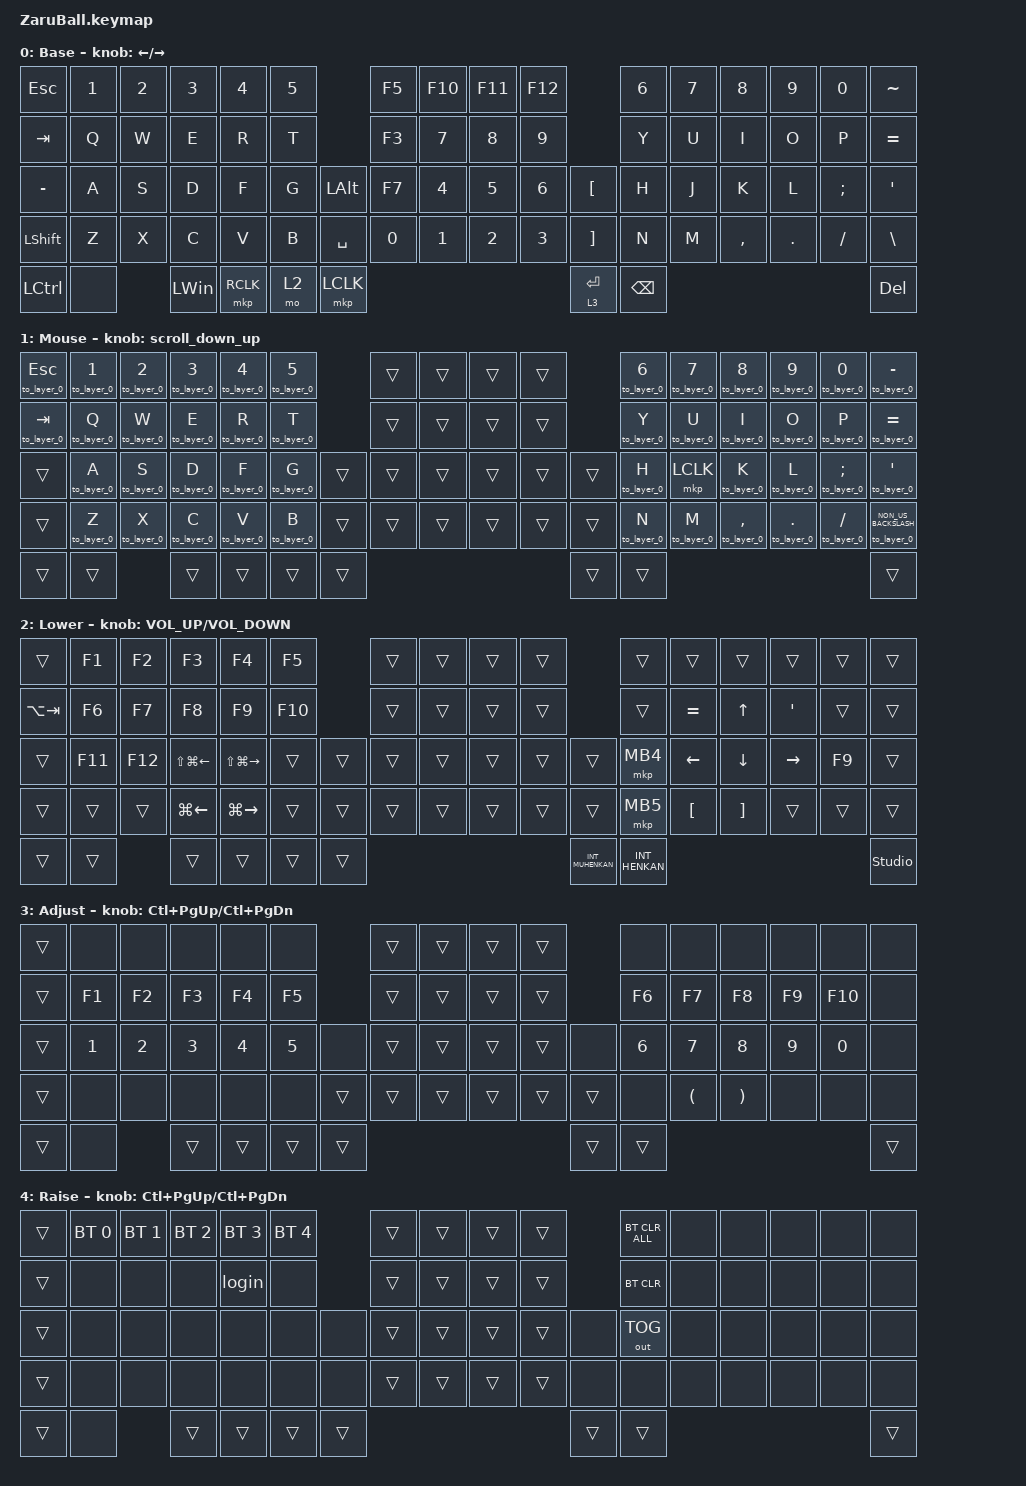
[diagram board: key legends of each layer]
//#include <dt-bindings/zmk/mouse.h>

#include <behaviors/rgbled_widget.dtsi>
#include <input/processors.dtsi>
#include <dt-bindings/zmk/input_transform.h>
#include <behaviors.dtsi>
#include <dt-bindings/zmk/bt.h>
#include <dt-bindings/zmk/keys.h>
#include <dt-bindings/zmk/outputs.h>
#include <dt-bindings/zmk/pointing.h>

#define BASE     0
#define MOUSE    1
#define LOWER    2
#define RAISE    3
#define ADJUST   4
#define SCROLL   2

// スクロール量の設定

#define ZMK_POINTING_DEFAULT_SCRL_VAL 100

&trackball_listener {
    input-processors = <
                         &zip_xy_transform (INPUT_TRANSFORM_XY_SWAP | INPUT_TRANSFORM_Y_INVERT | INPUT_TRANSFORM_X_INVERT)
                         &zip_temp_layer MOUSE 500
    >;

    scroller {
        layers = <SCROLL>;
        input-processors = <
                            &zip_xy_transform (INPUT_TRANSFORM_XY_SWAP | INPUT_TRANSFORM_X_INVERT)
                            &zip_xy_scaler 1 20
                            &zip_xy_to_scroll_mapper
        >;
    };
};

/ {
    conditional_layers {
        compatible = "zmk,conditional-layers";

        tri_layer {
            if-layers = <2 3>;
            then-layer = <4>;
        };
    };
};

/ {
    behaviors {
        // スクロール用のbehaviorの設定

        scroll_down_up: behavior_sensor_rotate_mouse_wheel_down_up {
            compatible = "zmk,behavior-sensor-rotate";
            #sensor-binding-cells = <0>;
            bindings = <&msc SCRL_DOWN>, <&msc SCRL_UP>;

            tap-ms = <20>; // スクロールのタップ時間
        };

        td0: tap_dance_0 {
            compatible = "zmk,behavior-tap-dance";
            #binding-cells = <0>;
            tapping-term-ms = <200>;
            bindings = <&mt LALT LANG2>, <&mo RAISE>, <&mo MOUSE>;
        };

        td1: tap_dance_1 {
            compatible = "zmk,behavior-tap-dance";
            #binding-cells = <0>;
            tapping-term-ms = <200>;
            bindings = <&mt RCTL LANG1>, <&mo RAISE>, <&mo MOUSE>;
        };

        // Customed Hold-Tap for SandS

        SandS: SandS {
            compatible = "zmk,behavior-hold-tap";
            #binding-cells = <2>;
            flavor = "tap-unless-interrupted";
            tapping-term-ms = <500>;
            quick-tap-ms = <500>;
            bindings = <&kp>, <&kp>;

            display-name = "SandS";
        };
    };
};

&sl { release-after-ms = <250>; }; // time needed for double click (for mkp_exit_AML)
/ {
    macros {
        // When in AML, move to default layer when key (except mouse button) pressed

        to_layer_0: to_layer_0 {
            compatible = "zmk,behavior-macro-one-param";
            #binding-cells = <1>;
            bindings = <&tog MOUSE &macro_param_1to1 &kp MACRO_PLACEHOLDER>;
            label = "TO_layer_0";
        };

        // When LCLK pressed, exit AML (after 250ms cause by sticky layer

        mkp_exit_AML: mkp_exit_AML {
            compatible = "zmk,behavior-macro-one-param";
            #binding-cells = <1>;
            bindings =
                <&macro_press>,
                <&macro_param_1to1 &mkp MACRO_PLACEHOLDER>,
                <&macro_pause_for_release>,
                <&macro_release>,
                <&macro_param_1to1 &mkp MACRO_PLACEHOLDER>,
                <&macro_tap>,
                <&sl MOUSE>;

            label = "MKP_EXIT_AML";
        };

        login: login {
            compatible = "zmk,behavior-macro";
            #binding-cells = <0>;
            bindings = <&kp INT_MUHENKAN &kp LS(R) &kp U &kp R &kp U &kp R &kp U &kp LS(R) &kp U &kp K &kp I &kp A &kp N6 &kp N2 &kp N5>;
            label = "LOGIN";
        };
    };
};

/ {
    keymap {
        compatible = "zmk,keymap";

        base_layer {
            display-name = "Base";
            sensor-bindings = <&inc_dec_kp LEFT_ARROW RIGHT_ARROW>;
            bindings = <
&kp ESC    &kp N1  &kp N2  &kp N3    &kp N4     &kp N5                  &kp F5  &kp F10       &kp F11       &kp F12                    &kp NUMBER_6  &kp N7  &kp N8     &kp N9   &kp N0    &kp TILDE
&kp TAB    &kp Q   &kp W   &kp E     &kp R      &kp T                   &kp F3  &kp N7        &kp N8        &kp N9                     &kp Y         &kp U   &kp I      &kp O    &kp P     &kp EQUAL
&kp MINUS  &kp A   &kp S   &kp D     &kp F      &kp G   &kp LEFT_ALT    &kp F7  &kp NUMBER_4  &kp N5        &kp NUMBER_6    &kp LBKT   &kp H         &kp J   &kp K      &kp L    &kp SEMI  &kp SQT
&kp LSHFT  &kp Z   &kp X   &kp C     &kp V      &kp B   &kp SPACE       &kp N0  &kp NUMBER_1  &kp NUMBER_2  &kp NUMBER_3    &kp RBKT   &kp N         &kp M   &kp COMMA  &kp DOT  &kp FSLH  &kp BACKSLASH
&kp LCTRL  &none           &kp LWIN  &mkp RCLK  &mo 2   &mkp LCLK                                                           &lt 3 RET  &kp BSPC                                            &kp DEL
            >;
        };

        mouse_layer {
            display-name = "Mouse";
            sensor-bindings = <&scroll_down_up>;
            bindings = <
&to_layer_0 ESC  &to_layer_0 N1  &to_layer_0 N2  &to_layer_0 N3  &to_layer_0 N4  &to_layer_0 N5            &trans  &trans  &trans  &trans            &to_layer_0 N6  &to_layer_0 N7  &to_layer_0 N8     &to_layer_0 N9      &to_layer_0 N0         &to_layer_0 MINUS
&to_layer_0 TAB  &to_layer_0 Q   &to_layer_0 W   &to_layer_0 E   &to_layer_0 R   &to_layer_0 T             &trans  &trans  &trans  &trans            &to_layer_0 Y   &to_layer_0 U   &to_layer_0 I      &to_layer_0 O       &to_layer_0 P          &to_layer_0 EQUAL
&trans           &to_layer_0 A   &to_layer_0 S   &to_layer_0 D   &to_layer_0 F   &to_layer_0 G   &trans    &trans  &trans  &trans  &trans    &trans  &to_layer_0 H   &mkp LCLK       &to_layer_0 K      &to_layer_0 L       &to_layer_0 SEMICOLON  &to_layer_0 SQT
&trans           &to_layer_0 Z   &to_layer_0 X   &to_layer_0 C   &to_layer_0 V   &to_layer_0 B   &trans    &trans  &trans  &trans  &trans    &trans  &to_layer_0 N   &to_layer_0 M   &to_layer_0 COMMA  &to_layer_0 PERIOD  &to_layer_0 SLASH      &to_layer_0 NON_US_BACKSLASH
&trans           &trans                          &trans          &trans          &trans          &trans                                      &trans  &trans                                                                                        &trans
            >;
        };

        lower_layer {
            display-name = "Lower";
            sensor-bindings = <&inc_dec_kp C_VOLUME_UP C_VOLUME_DOWN>;
            bindings = <
&trans       &kp F1   &kp F2   &kp F3                  &kp F4             &kp F5             &trans  &trans  &trans  &trans                      &trans          &trans     &trans    &trans     &trans  &trans
&kp LA(TAB)  &kp F6   &kp F7   &kp F8                  &kp F9             &kp F10            &trans  &trans  &trans  &trans                      &trans          &kp EQUAL  &kp UP    &kp SQT    &trans  &trans
&trans       &kp F11  &kp F12  &kp LS(LG(LEFT_ARROW))  &kp LS(LG(RIGHT))  &trans   &trans    &trans  &trans  &trans  &trans    &trans            &mkp MB4        &kp LEFT   &kp DOWN  &kp RIGHT  &kp F9  &trans
&trans       &trans   &trans   &kp LG(LEFT)            &kp LG(RIGHT)      &trans   &trans    &trans  &trans  &trans  &trans    &trans            &mkp MB5        &kp LBKT   &kp RBKT  &trans     &trans  &trans
&trans       &trans            &trans                  &trans             &trans   &trans                                      &kp INT_MUHENKAN  &kp INT_HENKAN                                          &studio_unlock
            >;
        };

        adjust_layer {
            display-name = "Adjust";
            sensor-bindings = <&inc_dec_kp LC(PAGE_UP) LC(PAGE_DOWN)>;
            bindings = <
&trans  &none   &none   &none   &none   &none             &trans  &trans  &trans  &trans            &none   &none     &none     &none   &none    &none
&trans  &kp F1  &kp F2  &kp F3  &kp F4  &kp F5            &trans  &trans  &trans  &trans            &kp F6  &kp F7    &kp F8    &kp F9  &kp F10  &none
&trans  &kp N1  &kp N2  &kp N3  &kp N4  &kp N5  &none     &trans  &trans  &trans  &trans    &none   &kp N6  &kp N7    &kp N8    &kp N9  &kp N0   &none
&trans  &none   &none   &none   &none   &none   &trans    &trans  &trans  &trans  &trans    &trans  &none   &kp LPAR  &kp RPAR  &none   &none    &none
&trans  &none           &trans  &trans  &trans  &trans                                      &trans  &trans                                       &trans
            >;
        };

        raise_layer {
            display-name = "Raise";
            sensor-bindings = <&inc_dec_kp LC(PAGE_UP) LC(PAGE_DOWN)>;
            bindings = <
&trans  &bt BT_SEL 0  &bt BT_SEL 1  &bt BT_SEL 2  &bt BT_SEL 3  &bt BT_SEL 4            &trans  &trans  &trans  &trans            &bt BT_CLR_ALL  &none  &none  &none  &none  &none
&trans  &none         &none         &none         &login        &none                   &trans  &trans  &trans  &trans            &bt BT_CLR      &none  &none  &none  &none  &none
&trans  &none         &none         &none         &none         &none         &none     &trans  &trans  &trans  &trans    &none   &out OUT_TOG    &none  &none  &none  &none  &none
&trans  &none         &none         &none         &none         &none         &none     &trans  &trans  &trans  &trans    &none   &none           &none  &none  &none  &none  &none
&trans  &none                       &trans        &trans        &trans        &trans                                      &trans  &trans                                      &trans
            >;
        };

        extra1 { status = "reserved"; };

        extra2 { status = "reserved"; };
    };
};
